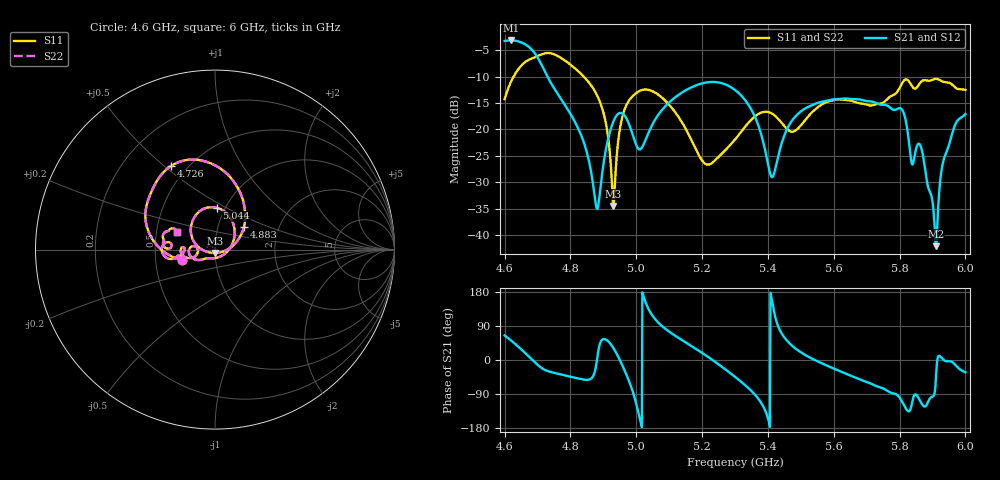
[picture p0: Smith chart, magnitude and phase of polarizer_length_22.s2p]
! TOUCHSTONE file generated by CST MICROWAVE STUDIO
! Date and time: Sun Dec  1 17:17:04 2024
! Project name: test_tuning.cst
! Parameters = {airCoaxOuterDiameter=3; chamferAngle=45; chamferWidth=24; connectorLength=10; drillingHoleDiameter=4.1; feedLength=60; flareDiameter=130; flareLength=70; gratingDistance=0; gratingGap=1.90274; outletLength=30; polarizerLength=106; probe1Diameter=1.3; probe1Distance=14; probe1Length=1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
! Header version: 2024
! Port assignment regex: !\s*Touchstone port\s*([0-9]+)\s*=\s*(CST MWS port|CST DES external port|CST DES block port)\s*(.+)\s* \(\"(.*)\"\)(\s*mode\s*([0-9]+))?.*
! Touchstone port assignment:
! Touchstone port 1 = CST MWS port 1 ("Input1")
! Touchstone port 2 = CST MWS port 2 ("Input2")
# GHz S MA R 50
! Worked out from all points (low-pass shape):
!   1001 points, 4.6 GHz to 6 GHz, reference 50 ohm
!   highest |S21| = -3.17 dB at 4.62 GHz (marker M1); lowest = -42.1 dB at 5.91 GHz (marker M2)
!   |S21| within 3 dB of the highest: start of sweep to 4.698 GHz
!   lowest |S11| = -34.5 dB at 4.93 GHz (marker M3), VSWR 1.04, Z = 50.2 - j1.88 ohm
!   |S11| at or under -10 dB: start of sweep to 4.628 GHz; 4.84 GHz to end of sweep
!   |S22| runs from -34.5 to -5.5 dB; largest |S21 - S12| = 5.6e-07
!   S11 on the Smith chart (normalised r, x): 4.6 GHz: 0.69, -0.08; 4.726 GHz: 0.41, +0.53; 4.883 GHz: 1.33, +0.35; 5.044 GHz: 0.91, +0.45; 6 GHz: 0.64, +0.13
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4.6  0.1926 -162.9  0.6872 64.9  0.6872 64.9  0.1926 -162.9
4.6196  0.283 -177.3  0.6941 51.5  0.6941 51.5  0.283 -177.3
4.67  0.4492 148.7  0.6162 12.3  0.6162 12.3  0.4492 148.7
4.726  0.5263 117.9  0.335 -27.7  0.335 -27.7  0.5263 117.9
4.8338  0.3316 63.3  0.08615 -50.6  0.08615 -50.6  0.3316 63.3
4.8828  0.2039 37.8  0.01792 13.0  0.01792 13.0  0.2039 37.8
4.9304  0.01883 -84.3  0.1182 31.7  0.1182 31.7  0.01883 -84.3
4.9668  0.1607 146.2  0.132 -31.8  0.132 -31.8  0.1607 146.2
5.0088  0.2298 112.2  0.0646 -147.5  0.0646 -147.5  0.2298 112.2
5.0438  0.233 87.5  0.1027 124.4  0.1027 124.4  0.233 87.5
5.0676  0.2122 72.1  0.1381 98.1  0.1381 98.1  0.2122 72.1
5.2104  0.04701 -62.9  0.2766 12.8  0.2766 12.8  0.04701 -62.9
5.3  0.08004 -139.3  0.2358 -44.3  0.2358 -44.3  0.08004 -139.3
5.412  0.1414 176.9  0.03524 157.9  0.03524 157.9  0.1414 176.9
5.5338  0.1449 -161.1  0.1692 3.7  0.1692 3.7  0.1449 -161.1
5.7676  0.2 -170.3  0.1641 -83.8  0.1641 -83.8  0.2 -170.3
5.811  0.2838 -172.6  0.1468 -115.0  0.1468 -115.0  0.2838 -172.6
5.839  0.253 171.3  0.04635 -109.0  0.04635 -109.0  0.253 171.3
5.8642  0.2793 177.6  0.06924 -110.8  0.06924 -110.8  0.2793 177.6
5.9104  0.3009 164.4  0.007829 -50.1  0.007829 -50.1  0.3009 164.4
5.9342  0.281 158.5  0.05168 0.0  0.05168 0.0  0.281 158.5
6  0.2359 155.0  0.1393 -32.3  0.1393 -32.3  0.2359 155.0
